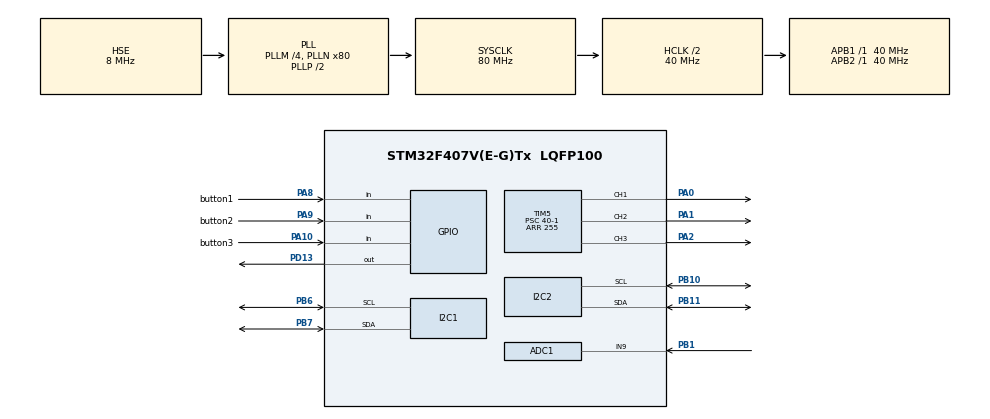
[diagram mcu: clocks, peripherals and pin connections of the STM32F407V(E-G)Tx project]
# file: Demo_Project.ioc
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ADC1.Channel-0\#ChannelRegularConversion=ADC_CHANNEL_9
ADC1.ContinuousConvMode=ENABLE
ADC1.NbrOfConversionFlag=1
ADC1.Rank-0\#ChannelRegularConversion=1
ADC1.SamplingTime-0\#ChannelRegularConversion=ADC_SAMPLETIME_15CYCLES
ADC1.master=1
Mcu.Family=STM32F4
Mcu.Name=STM32F407V(E-G)Tx
Mcu.Package=LQFP100
NVIC.PriorityGroup=NVIC_PRIORITYGROUP_4
NVIC.TIM3_IRQn=true\:0\:0\:false\:false\:true\:true\:true\:true
PA0-WKUP.Signal=S_TIM5_CH1
PA1.Signal=S_TIM5_CH2
PA10.GPIO_Label=button3
PA10.GPIO_PuPd=GPIO_PULLUP
PA10.Signal=GPIO_Input
PA13.Mode=Serial_Wire
PA13.Signal=SYS_JTMS-SWDIO
PA14.Mode=Serial_Wire
PA14.Signal=SYS_JTCK-SWCLK
PA2.Signal=S_TIM5_CH3
PA8.GPIO_Label=button1
PA8.GPIO_PuPd=GPIO_PULLUP
PA8.Signal=GPIO_Input
PA9.GPIO_Label=button2
PA9.GPIO_PuPd=GPIO_PULLUP
PA9.Signal=GPIO_Input
PB1.Signal=ADCx_IN9
PB10.Mode=I2C
PB10.Signal=I2C2_SCL
PB11.Mode=I2C
PB11.Signal=I2C2_SDA
PB6.Mode=I2C
PB6.Signal=I2C1_SCL
PB7.Mode=I2C
PB7.Signal=I2C1_SDA
PD13.Signal=GPIO_Output
PH0-OSC_IN.Mode=HSE-External-Oscillator
PH0-OSC_IN.Signal=RCC_OSC_IN
PH1-OSC_OUT.Mode=HSE-External-Oscillator
PH1-OSC_OUT.Signal=RCC_OSC_OUT
ProjectManager.HeapSize=0x200
ProjectManager.StackSize=0x400
ProjectManager.TargetToolchain=STM32CubeIDE
RCC.48MHZClocksFreq_Value=40000000
RCC.AHBCLKDivider=RCC_SYSCLK_DIV2
RCC.AHBFreq_Value=40000000
RCC.APB1Freq_Value=40000000
RCC.APB1TimFreq_Value=40000000
RCC.APB2Freq_Value=40000000
RCC.APB2TimFreq_Value=40000000
RCC.CortexFreq_Value=40000000
RCC.HCLKFreq_Value=40000000
RCC.HSE_VALUE=8000000
RCC.HSI_VALUE=16000000
RCC.LSE_VALUE=32768
RCC.PLLM=4
RCC.PLLN=80
RCC.PLLSourceVirtual=RCC_PLLSOURCE_HSE
RCC.SYSCLKFreq_VALUE=80000000
RCC.SYSCLKSource=RCC_SYSCLKSOURCE_PLLCLK
RCC.VCOOutputFreq_Value=160000000
SH.ADCx_IN9.0=ADC1_IN9,IN9
SH.S_TIM5_CH1.0=TIM5_CH1,PWM Generation1 CH1
SH.S_TIM5_CH2.0=TIM5_CH2,PWM Generation2 CH2
SH.S_TIM5_CH3.0=TIM5_CH3,PWM Generation3 CH3
TIM2.Period=0xffff-1
TIM2.Prescaler=40-1
TIM3.Period=9999
TIM3.Prescaler=40-1
TIM5.Channel-PWM\ Generation1\ CH1=TIM_CHANNEL_1
TIM5.Channel-PWM\ Generation2\ CH2=TIM_CHANNEL_2
TIM5.Channel-PWM\ Generation3\ CH3=TIM_CHANNEL_3
TIM5.Period=255
TIM5.Prescaler=40-1
VP_TIM2_VS_ClockSourceINT.Mode=Internal
VP_TIM3_VS_ClockSourceINT.Mode=Internal
VP_TIM5_VS_ClockSourceINT.Mode=Internal
board=custom

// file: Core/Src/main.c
/* USER CODE BEGIN Header */
/**
  ******************************************************************************
  * @file           : main.c
  * @brief          : Main program body
  ******************************************************************************
  * @attention
  *
  * Copyright (c) 2024 STMicroelectronics.
  * All rights reserved.
  *
  * This software is licensed under terms that can be found in the LICENSE file
  * in the root directory of this software component.
  * If no LICENSE file comes with this software, it is provided AS-IS.
  *
  ******************************************************************************
  */
/* USER CODE END Header */
#include "main.h"

/* USER CODE BEGIN Includes */
#include "stdio.h"
#include "i2c-lcd.h"
#include "button.h"
#include "DS3231.h"
#include "DHT11.h"
#include "automatic_mode.h"
/* USER CODE END Includes */

ADC_HandleTypeDef hadc1;

I2C_HandleTypeDef hi2c1;
I2C_HandleTypeDef hi2c2;

TIM_HandleTypeDef htim2;
TIM_HandleTypeDef htim3;
TIM_HandleTypeDef htim5;

void SystemClock_Config(void);
static void MX_GPIO_Init(void);
static void MX_I2C1_Init(void);
static void MX_TIM2_Init(void);
static void MX_ADC1_Init(void);
static void MX_TIM3_Init(void);
static void MX_I2C2_Init(void);
static void MX_TIM5_Init(void);
/* USER CODE BEGIN PFP */
extern void rgb_color(uint8_t red, uint8_t green, uint8_t blue);
/* USER CODE END PFP */

/* USER CODE BEGIN 0 */

/************* Variables from @ main.h ****************/
int state = 0;
uint8_t red, green, blue = 0;

/********************************LIGHT SENSOR VARIABLES**********************************/
uint16_t readValue;

void display_Light(uint16_t val) {
	char str[30];
	lcd_put_cur(0, 0);
//	lcd_send_string("Light: ");
	sprintf(str, "Light: %hu", val);
	lcd_send_string(str);
}

/********************************RGB LED FUNCTION**********************************/
void rgb_color(uint8_t red, uint8_t green, uint8_t blue) {
	htim5.Instance->CCR1 = red;
	htim5.Instance->CCR2 = green;
	htim5.Instance->CCR3 = blue;
}
/* USER CODE END 0 */

int main(void)
{

  /* MCU Configuration--------------------------------------------------------*/

  /* Reset of all peripherals, Initializes the Flash interface and the Systick. */
  HAL_Init();

  /* Configure the system clock */
  SystemClock_Config();

  /* Initialize all configured peripherals */
  MX_GPIO_Init();
  MX_I2C1_Init();
  MX_TIM2_Init();
  MX_ADC1_Init();
  MX_TIM3_Init();
  MX_I2C2_Init();
  MX_TIM5_Init();
  /* USER CODE BEGIN 2 */
  HAL_TIM_Base_Start(&htim2);
  HAL_TIM_Base_Start_IT(&htim2);
  HAL_TIM_Base_Start_IT(&htim3);

  HAL_TIM_PWM_Start(&htim5, TIM_CHANNEL_1);
  HAL_TIM_PWM_Start(&htim5, TIM_CHANNEL_2);
  HAL_TIM_PWM_Start(&htim5, TIM_CHANNEL_3);
  /* USER CODE END 2 */

  /* Infinite loop */
  /* USER CODE BEGIN WHILE */
//  set_Time(00, 23, 21, 7, 25, 8, 24);
  state = INIT;

  while (1)
  {
	  automatic_run();
	  getKeyFromAdafruit();

	  HAL_Delay(500);

    /* USER CODE END WHILE */

  }
}

void SystemClock_Config(void)
{
  RCC_OscInitTypeDef RCC_OscInitStruct = {0};
  RCC_ClkInitTypeDef RCC_ClkInitStruct = {0};

  /** Configure the main internal regulator output voltage
  */
  __HAL_RCC_PWR_CLK_ENABLE();
  __HAL_PWR_VOLTAGESCALING_CONFIG(PWR_REGULATOR_VOLTAGE_SCALE1);

  /** Initializes the RCC Oscillators according to the specified parameters
  * in the RCC_OscInitTypeDef structure.
  */
  RCC_OscInitStruct.OscillatorType = RCC_OSCILLATORTYPE_HSE;
  RCC_OscInitStruct.HSEState = RCC_HSE_ON;
  RCC_OscInitStruct.PLL.PLLState = RCC_PLL_ON;
  RCC_OscInitStruct.PLL.PLLSource = RCC_PLLSOURCE_HSE;
  RCC_OscInitStruct.PLL.PLLM = 4;
  RCC_OscInitStruct.PLL.PLLN = 80;
  RCC_OscInitStruct.PLL.PLLP = RCC_PLLP_DIV2;
  RCC_OscInitStruct.PLL.PLLQ = 4;
  if (HAL_RCC_OscConfig(&RCC_OscInitStruct) != HAL_OK)
  {
    Error_Handler();
  }

  /** Initializes the CPU, AHB and APB buses clocks
  */
  RCC_ClkInitStruct.ClockType = RCC_CLOCKTYPE_HCLK|RCC_CLOCKTYPE_SYSCLK
                              |RCC_CLOCKTYPE_PCLK1|RCC_CLOCKTYPE_PCLK2;
  RCC_ClkInitStruct.SYSCLKSource = RCC_SYSCLKSOURCE_PLLCLK;
  RCC_ClkInitStruct.AHBCLKDivider = RCC_SYSCLK_DIV2;
  RCC_ClkInitStruct.APB1CLKDivider = RCC_HCLK_DIV1;
  RCC_ClkInitStruct.APB2CLKDivider = RCC_HCLK_DIV1;

  if (HAL_RCC_ClockConfig(&RCC_ClkInitStruct, FLASH_LATENCY_1) != HAL_OK)
  {
    Error_Handler();
  }
}

static void MX_ADC1_Init(void)
{

  ADC_ChannelConfTypeDef sConfig = {0};

  /** Configure the global features of the ADC (Clock, Resolution, Data Alignment and number of conversion)
  */
  hadc1.Instance = ADC1;
  hadc1.Init.ClockPrescaler = ADC_CLOCK_SYNC_PCLK_DIV2;
  hadc1.Init.Resolution = ADC_RESOLUTION_12B;
  hadc1.Init.ScanConvMode = DISABLE;
  hadc1.Init.ContinuousConvMode = ENABLE;
  hadc1.Init.DiscontinuousConvMode = DISABLE;
  hadc1.Init.ExternalTrigConvEdge = ADC_EXTERNALTRIGCONVEDGE_NONE;
  hadc1.Init.ExternalTrigConv = ADC_SOFTWARE_START;
  hadc1.Init.DataAlign = ADC_DATAALIGN_RIGHT;
  hadc1.Init.NbrOfConversion = 1;
  hadc1.Init.DMAContinuousRequests = DISABLE;
  hadc1.Init.EOCSelection = ADC_EOC_SINGLE_CONV;
  if (HAL_ADC_Init(&hadc1) != HAL_OK)
  {
    Error_Handler();
  }

  /** Configure for the selected ADC regular channel its corresponding rank in the sequencer and its sample time.
  */
  sConfig.Channel = ADC_CHANNEL_9;
  sConfig.Rank = 1;
  sConfig.SamplingTime = ADC_SAMPLETIME_15CYCLES;
  if (HAL_ADC_ConfigChannel(&hadc1, &sConfig) != HAL_OK)
  {
    Error_Handler();
  }

}

static void MX_I2C1_Init(void)
{

  hi2c1.Instance = I2C1;
  hi2c1.Init.ClockSpeed = 100000;
  hi2c1.Init.DutyCycle = I2C_DUTYCYCLE_2;
  hi2c1.Init.OwnAddress1 = 0;
  hi2c1.Init.AddressingMode = I2C_ADDRESSINGMODE_7BIT;
  hi2c1.Init.DualAddressMode = I2C_DUALADDRESS_DISABLE;
  hi2c1.Init.OwnAddress2 = 0;
  hi2c1.Init.GeneralCallMode = I2C_GENERALCALL_DISABLE;
  hi2c1.Init.NoStretchMode = I2C_NOSTRETCH_DISABLE;
  if (HAL_I2C_Init(&hi2c1) != HAL_OK)
  {
    Error_Handler();
  }

}

static void MX_I2C2_Init(void)
{

  hi2c2.Instance = I2C2;
  hi2c2.Init.ClockSpeed = 100000;
  hi2c2.Init.DutyCycle = I2C_DUTYCYCLE_2;
  hi2c2.Init.OwnAddress1 = 0;
  hi2c2.Init.AddressingMode = I2C_ADDRESSINGMODE_7BIT;
  hi2c2.Init.DualAddressMode = I2C_DUALADDRESS_DISABLE;
  hi2c2.Init.OwnAddress2 = 0;
  hi2c2.Init.GeneralCallMode = I2C_GENERALCALL_DISABLE;
  hi2c2.Init.NoStretchMode = I2C_NOSTRETCH_DISABLE;
  if (HAL_I2C_Init(&hi2c2) != HAL_OK)
  {
    Error_Handler();
  }

}

static void MX_TIM2_Init(void)
{

  TIM_ClockConfigTypeDef sClockSourceConfig = {0};
  TIM_MasterConfigTypeDef sMasterConfig = {0};

  htim2.Instance = TIM2;
  htim2.Init.Prescaler = 40-1;
  htim2.Init.CounterMode = TIM_COUNTERMODE_UP;
  htim2.Init.Period = 0xffff-1;
  htim2.Init.ClockDivision = TIM_CLOCKDIVISION_DIV1;
  htim2.Init.AutoReloadPreload = TIM_AUTORELOAD_PRELOAD_DISABLE;
  if (HAL_TIM_Base_Init(&htim2) != HAL_OK)
  {
    Error_Handler();
  }
  sClockSourceConfig.ClockSource = TIM_CLOCKSOURCE_INTERNAL;
  if (HAL_TIM_ConfigClockSource(&htim2, &sClockSourceConfig) != HAL_OK)
  {
    Error_Handler();
  }
  sMasterConfig.MasterOutputTrigger = TIM_TRGO_RESET;
  sMasterConfig.MasterSlaveMode = TIM_MASTERSLAVEMODE_DISABLE;
  if (HAL_TIMEx_MasterConfigSynchronization(&htim2, &sMasterConfig) != HAL_OK)
  {
    Error_Handler();
  }

}

static void MX_TIM3_Init(void)
{

  TIM_ClockConfigTypeDef sClockSourceConfig = {0};
  TIM_MasterConfigTypeDef sMasterConfig = {0};

  htim3.Instance = TIM3;
  htim3.Init.Prescaler = 40-1;
  htim3.Init.CounterMode = TIM_COUNTERMODE_UP;
  htim3.Init.Period = 9999;
  htim3.Init.ClockDivision = TIM_CLOCKDIVISION_DIV1;
  htim3.Init.AutoReloadPreload = TIM_AUTORELOAD_PRELOAD_DISABLE;
  if (HAL_TIM_Base_Init(&htim3) != HAL_OK)
  {
    Error_Handler();
  }
  sClockSourceConfig.ClockSource = TIM_CLOCKSOURCE_INTERNAL;
  if (HAL_TIM_ConfigClockSource(&htim3, &sClockSourceConfig) != HAL_OK)
  {
    Error_Handler();
  }
  sMasterConfig.MasterOutputTrigger = TIM_TRGO_RESET;
  sMasterConfig.MasterSlaveMode = TIM_MASTERSLAVEMODE_DISABLE;
  if (HAL_TIMEx_MasterConfigSynchronization(&htim3, &sMasterConfig) != HAL_OK)
  {
    Error_Handler();
  }

}

static void MX_TIM5_Init(void)
{

  TIM_ClockConfigTypeDef sClockSourceConfig = {0};
  TIM_MasterConfigTypeDef sMasterConfig = {0};
  TIM_OC_InitTypeDef sConfigOC = {0};

  htim5.Instance = TIM5;
  htim5.Init.Prescaler = 40-1;
  htim5.Init.CounterMode = TIM_COUNTERMODE_UP;
  htim5.Init.Period = 255;
  htim5.Init.ClockDivision = TIM_CLOCKDIVISION_DIV1;
  htim5.Init.AutoReloadPreload = TIM_AUTORELOAD_PRELOAD_DISABLE;
  if (HAL_TIM_Base_Init(&htim5) != HAL_OK)
  {
    Error_Handler();
  }
  sClockSourceConfig.ClockSource = TIM_CLOCKSOURCE_INTERNAL;
  if (HAL_TIM_ConfigClockSource(&htim5, &sClockSourceConfig) != HAL_OK)
  {
    Error_Handler();
  }
  if (HAL_TIM_PWM_Init(&htim5) != HAL_OK)
  {
    Error_Handler();
  }
  sMasterConfig.MasterOutputTrigger = TIM_TRGO_RESET;
  sMasterConfig.MasterSlaveMode = TIM_MASTERSLAVEMODE_DISABLE;
  if (HAL_TIMEx_MasterConfigSynchronization(&htim5, &sMasterConfig) != HAL_OK)
  {
    Error_Handler();
  }
  sConfigOC.OCMode = TIM_OCMODE_PWM1;
  sConfigOC.Pulse = 0;
  sConfigOC.OCPolarity = TIM_OCPOLARITY_HIGH;
  sConfigOC.OCFastMode = TIM_OCFAST_DISABLE;
  if (HAL_TIM_PWM_ConfigChannel(&htim5, &sConfigOC, TIM_CHANNEL_1) != HAL_OK)
  {
    Error_Handler();
  }
  if (HAL_TIM_PWM_ConfigChannel(&htim5, &sConfigOC, TIM_CHANNEL_2) != HAL_OK)
  {
    Error_Handler();
  }
  if (HAL_TIM_PWM_ConfigChannel(&htim5, &sConfigOC, TIM_CHANNEL_3) != HAL_OK)
  {
    Error_Handler();
  }
  HAL_TIM_MspPostInit(&htim5);

}

static void MX_GPIO_Init(void)
{
  GPIO_InitTypeDef GPIO_InitStruct = {0};

  /* GPIO Ports Clock Enable */
  __HAL_RCC_GPIOH_CLK_ENABLE();
  __HAL_RCC_GPIOA_CLK_ENABLE();
  __HAL_RCC_GPIOB_CLK_ENABLE();
  __HAL_RCC_GPIOD_CLK_ENABLE();

  /*Configure GPIO pin Output Level */
  HAL_GPIO_WritePin(GPIOD, GPIO_PIN_13, GPIO_PIN_RESET);

  /*Configure GPIO pin : PD13 */
  GPIO_InitStruct.Pin = GPIO_PIN_13;
  GPIO_InitStruct.Mode = GPIO_MODE_OUTPUT_PP;
  GPIO_InitStruct.Pull = GPIO_NOPULL;
  GPIO_InitStruct.Speed = GPIO_SPEED_FREQ_LOW;
  HAL_GPIO_Init(GPIOD, &GPIO_InitStruct);

  /*Configure GPIO pins : button1_Pin button2_Pin button3_Pin */
  GPIO_InitStruct.Pin = button1_Pin|button2_Pin|button3_Pin;
  GPIO_InitStruct.Mode = GPIO_MODE_INPUT;
  GPIO_InitStruct.Pull = GPIO_PULLUP;
  HAL_GPIO_Init(GPIOA, &GPIO_InitStruct);

}

/* USER CODE BEGIN 4 */
void HAL_TIM_PeriodElapsedCallback(TIM_HandleTypeDef *htim) {
	timerRun();
	getKeyInput();
//	getKeyFromAdafruit();
}
/* USER CODE END 4 */

void Error_Handler(void)
{
  __disable_irq();
  while (1)
  {
  }
}
